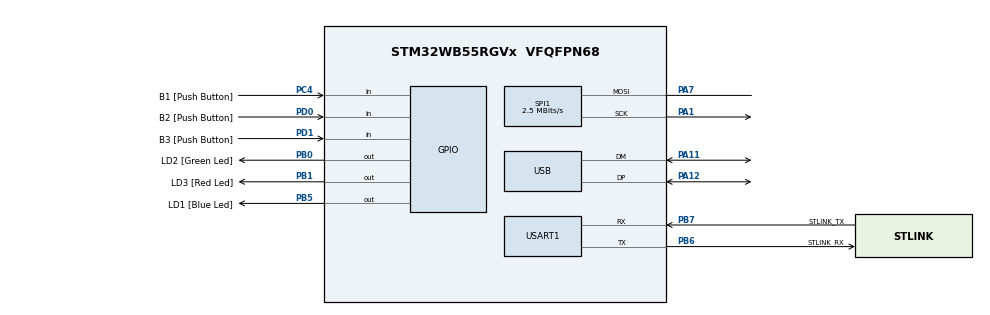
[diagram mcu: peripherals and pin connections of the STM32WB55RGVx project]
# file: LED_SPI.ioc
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Mcu.Family=STM32WB
Mcu.Name=STM32WB55RGVx
Mcu.Package=VFQFPN68
NVIC.PriorityGroup=NVIC_PRIORITYGROUP_4
NVIC.RCC_IRQn=true\:0\:0\:false\:false\:true\:true\:false\:true
NVIC.SPI1_IRQn=true\:0\:0\:false\:false\:true\:true\:true\:true
OSC_IN.Mode=HSE-External-Clock-Source
OSC_IN.Signal=RCC_OSC_IN
OSC_OUT.Signal=RCC_OSC_OUT
PA1.Mode=Simplex_Bidirectional_Master
PA1.Signal=SPI1_SCK
PA11.Mode=Device
PA11.Signal=USB_DM
PA12.Mode=Device
PA12.Signal=USB_DP
PA13.GPIO_Label=JTMS
PA13.Mode=Trace_Asynchronous_SW
PA13.Signal=SYS_JTMS-SWDIO
PA14.GPIO_Label=JTCK
PA14.Mode=Trace_Asynchronous_SW
PA14.Signal=SYS_JTCK-SWCLK
PA7.Mode=Simplex_Bidirectional_Master
PA7.Signal=SPI1_MOSI
PB0.GPIO_Label=LD2 [Green Led]
PB0.Signal=GPIO_Output
PB1.GPIO_Label=LD3 [Red Led]
PB1.Signal=GPIO_Output
PB3.GPIO_Label=JTDO
PB3.Mode=Trace_Asynchronous_SW
PB3.Signal=SYS_JTDO-SWO
PB5.GPIO_Label=LD1 [Blue Led]
PB5.Signal=GPIO_Output
PB6.GPIO_Label=STLINK_RX
PB6.GPIO_PuPd=GPIO_PULLUP
PB6.Mode=Asynchronous
PB6.Signal=USART1_TX
PB7.GPIO_Label=STLINK_TX
PB7.GPIO_PuPd=GPIO_PULLUP
PB7.Mode=Asynchronous
PB7.Signal=USART1_RX
PC13.Mode=SYS_WakeUp1
PC13.Signal=SYS_WKUP2
PC14-OSC32_IN.Signal=RCC_OSC32_IN
PC15-OSC32_OUT.Signal=RCC_OSC32_OUT
PC4.GPIO_Label=B1 [Push Button]
PC4.Signal=GPIO_Input
PD0.GPIO_Label=B2 [Push Button]
PD0.Signal=GPIO_Input
PD1.GPIO_Label=B3 [Push Button]
PD1.Signal=GPIO_Input
ProjectManager.HeapSize=0x200
ProjectManager.StackSize=0x400
ProjectManager.TargetToolchain=STM32CubeIDE
RCC.ADCFreq_Value=48000000
RCC.AHBFreq_Value=20000000
RCC.APB1Freq_Value=20000000
RCC.APB1TimFreq_Value=20000000
RCC.APB2Freq_Value=20000000
RCC.APB2TimFreq_Value=20000000
RCC.APB3Freq_Value=4000000
RCC.CortexFreq_Value=20000000
RCC.HCLKFreq_Value=20000000
RCC.HSE_VALUE=8000000
RCC.HSI48_VALUE=48000000
RCC.HSI_VALUE=16000000
RCC.LSE_VALUE=32768
RCC.PLLN=25
RCC.PLLR=RCC_PLLR_DIV5
RCC.PLLSAI1N=24
RCC.SMPSCLockSelectionVirtual=RCC_SMPSCLKSOURCE_HSI
RCC.SMPSCLockSelectionVirtualVirtual=RCC_SMPSCLKSOURCE_HSI
RCC.SMPSDivider=1
RCC.SYSCLKFreq_VALUE=20000000
RCC.SYSCLKSource=RCC_SYSCLKSOURCE_PLLCLK
RCC.USBFreq_Value=48000000
RCC.VCOOutputFreq_Value=100000000
SPI1.BaudRatePrescaler=SPI_BAUDRATEPRESCALER_8
SPI1.CalculateBaudRate=2.5 MBits/s
SPI1.DataSize=SPI_DATASIZE_8BIT
SPI1.Direction=SPI_DIRECTION_1LINE
SPI1.Mode=SPI_MODE_MASTER
SPI1.VirtualType=VM_MASTER
USART1.VirtualMode-Asynchronous=VM_ASYNC
USART1.WordLength=WORDLENGTH_7B
VP_MEMORYMAP_VS_MEMORYMAP.Mode=CurAppReg
board=NUCLEO-WB55RG

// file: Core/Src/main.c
/* USER CODE BEGIN Header */
/**
  ******************************************************************************
  * @file           : main.c
  * @brief          : Main program body
  ******************************************************************************
  * @attention
  *
  * Copyright (c) 2024 STMicroelectronics.
  * All rights reserved.
  *
  * This software is licensed under terms that can be found in the LICENSE file
  * in the root directory of this software component.
  * If no LICENSE file comes with this software, it is provided AS-IS.
  *
  ******************************************************************************
  */
/* USER CODE END Header */
#include "main.h"

/* USER CODE BEGIN Includes */

#include "WS2812_SPI.h"

/* USER CODE END Includes */

SPI_HandleTypeDef hspi1;

UART_HandleTypeDef huart1;

PCD_HandleTypeDef hpcd_USB_FS;

void SystemClock_Config(void);
void PeriphCommonClock_Config(void);
static void MX_GPIO_Init(void);
static void MX_USART1_UART_Init(void);
static void MX_USB_PCD_Init(void);
static void MX_SPI1_Init(void);

int main(void)
{

  /* MCU Configuration--------------------------------------------------------*/

  /* Reset of all peripherals, Initializes the Flash interface and the Systick. */
  HAL_Init();

  /* Configure the system clock */
  SystemClock_Config();

/* Configure the peripherals common clocks */
  PeriphCommonClock_Config();

  /* Initialize all configured peripherals */
  MX_GPIO_Init();
  MX_USART1_UART_Init();
  MX_USB_PCD_Init();
  MX_SPI1_Init();
  /* USER CODE BEGIN 2 */

  for(int i=0;i<72;i++){
	  set_LED(i, 0, 0, 0);
  }

  WS2812_Send();

  /* USER CODE END 2 */

  /* Infinite loop */
  while (1)
  {

    /* USER CODE BEGIN 3 */
	  for(int i=0;i<72;i++){
	  	  set_LED(i, 255, 0, 0);
	  }
	  WS2812_Send();
	  HAL_Delay(1000);
	  for(int i=0;i<72;i++){
	  	  set_LED(i, 0, 255, 0);
	  }
	  WS2812_Send();
	  HAL_Delay(1000);
	  for(int i=0;i<72;i++){
		  set_LED(i, 0, 0, 255);
	  }
	  WS2812_Send();
	  HAL_Delay(1000);

  }
  /* USER CODE END 3 */
}

void SystemClock_Config(void)
{
  RCC_OscInitTypeDef RCC_OscInitStruct = {0};
  RCC_ClkInitTypeDef RCC_ClkInitStruct = {0};

  /** Configure the main internal regulator output voltage
  */
  __HAL_PWR_VOLTAGESCALING_CONFIG(PWR_REGULATOR_VOLTAGE_SCALE1);

  /** Initializes the RCC Oscillators according to the specified parameters
  * in the RCC_OscInitTypeDef structure.
  */
  RCC_OscInitStruct.OscillatorType = RCC_OSCILLATORTYPE_HSI|RCC_OSCILLATORTYPE_HSE
                              |RCC_OSCILLATORTYPE_LSE|RCC_OSCILLATORTYPE_MSI;
  RCC_OscInitStruct.HSEState = RCC_HSE_ON;
  RCC_OscInitStruct.LSEState = RCC_LSE_OFF;
  RCC_OscInitStruct.HSIState = RCC_HSI_ON;
  RCC_OscInitStruct.MSIState = RCC_MSI_ON;
  RCC_OscInitStruct.HSICalibrationValue = RCC_HSICALIBRATION_DEFAULT;
  RCC_OscInitStruct.MSICalibrationValue = RCC_MSICALIBRATION_DEFAULT;
  RCC_OscInitStruct.MSIClockRange = RCC_MSIRANGE_6;
  RCC_OscInitStruct.PLL.PLLState = RCC_PLL_ON;
  RCC_OscInitStruct.PLL.PLLSource = RCC_PLLSOURCE_MSI;
  RCC_OscInitStruct.PLL.PLLM = RCC_PLLM_DIV1;
  RCC_OscInitStruct.PLL.PLLN = 25;
  RCC_OscInitStruct.PLL.PLLP = RCC_PLLP_DIV2;
  RCC_OscInitStruct.PLL.PLLR = RCC_PLLR_DIV5;
  RCC_OscInitStruct.PLL.PLLQ = RCC_PLLQ_DIV2;
  if (HAL_RCC_OscConfig(&RCC_OscInitStruct) != HAL_OK)
  {
    Error_Handler();
  }

  /** Configure the SYSCLKSource, HCLK, PCLK1 and PCLK2 clocks dividers
  */
  RCC_ClkInitStruct.ClockType = RCC_CLOCKTYPE_HCLK4|RCC_CLOCKTYPE_HCLK2
                              |RCC_CLOCKTYPE_HCLK|RCC_CLOCKTYPE_SYSCLK
                              |RCC_CLOCKTYPE_PCLK1|RCC_CLOCKTYPE_PCLK2;
  RCC_ClkInitStruct.SYSCLKSource = RCC_SYSCLKSOURCE_PLLCLK;
  RCC_ClkInitStruct.AHBCLKDivider = RCC_SYSCLK_DIV1;
  RCC_ClkInitStruct.APB1CLKDivider = RCC_HCLK_DIV1;
  RCC_ClkInitStruct.APB2CLKDivider = RCC_HCLK_DIV1;
  RCC_ClkInitStruct.AHBCLK2Divider = RCC_SYSCLK_DIV1;
  RCC_ClkInitStruct.AHBCLK4Divider = RCC_SYSCLK_DIV1;

  if (HAL_RCC_ClockConfig(&RCC_ClkInitStruct, FLASH_LATENCY_1) != HAL_OK)
  {
    Error_Handler();
  }

  /** Enable MSI Auto calibration
  */
  HAL_RCCEx_EnableMSIPLLMode();
}

void PeriphCommonClock_Config(void)
{
  RCC_PeriphCLKInitTypeDef PeriphClkInitStruct = {0};

  /** Initializes the peripherals clock
  */
  PeriphClkInitStruct.PeriphClockSelection = RCC_PERIPHCLK_SMPS;
  PeriphClkInitStruct.SmpsClockSelection = RCC_SMPSCLKSOURCE_HSI;
  PeriphClkInitStruct.SmpsDivSelection = RCC_SMPSCLKDIV_RANGE0;

  if (HAL_RCCEx_PeriphCLKConfig(&PeriphClkInitStruct) != HAL_OK)
  {
    Error_Handler();
  }
}

static void MX_SPI1_Init(void)
{

  /* SPI1 parameter configuration*/
  hspi1.Instance = SPI1;
  hspi1.Init.Mode = SPI_MODE_MASTER;
  hspi1.Init.Direction = SPI_DIRECTION_1LINE;
  hspi1.Init.DataSize = SPI_DATASIZE_8BIT;
  hspi1.Init.CLKPolarity = SPI_POLARITY_LOW;
  hspi1.Init.CLKPhase = SPI_PHASE_1EDGE;
  hspi1.Init.NSS = SPI_NSS_SOFT;
  hspi1.Init.BaudRatePrescaler = SPI_BAUDRATEPRESCALER_8;
  hspi1.Init.FirstBit = SPI_FIRSTBIT_MSB;
  hspi1.Init.TIMode = SPI_TIMODE_DISABLE;
  hspi1.Init.CRCCalculation = SPI_CRCCALCULATION_DISABLE;
  hspi1.Init.CRCPolynomial = 7;
  hspi1.Init.CRCLength = SPI_CRC_LENGTH_DATASIZE;
  hspi1.Init.NSSPMode = SPI_NSS_PULSE_ENABLE;
  if (HAL_SPI_Init(&hspi1) != HAL_OK)
  {
    Error_Handler();
  }

}

static void MX_USART1_UART_Init(void)
{

  huart1.Instance = USART1;
  huart1.Init.BaudRate = 115200;
  huart1.Init.WordLength = UART_WORDLENGTH_7B;
  huart1.Init.StopBits = UART_STOPBITS_1;
  huart1.Init.Parity = UART_PARITY_NONE;
  huart1.Init.Mode = UART_MODE_TX_RX;
  huart1.Init.HwFlowCtl = UART_HWCONTROL_NONE;
  huart1.Init.OverSampling = UART_OVERSAMPLING_16;
  huart1.Init.OneBitSampling = UART_ONE_BIT_SAMPLE_DISABLE;
  huart1.Init.ClockPrescaler = UART_PRESCALER_DIV1;
  huart1.AdvancedInit.AdvFeatureInit = UART_ADVFEATURE_NO_INIT;
  if (HAL_UART_Init(&huart1) != HAL_OK)
  {
    Error_Handler();
  }
  if (HAL_UARTEx_SetTxFifoThreshold(&huart1, UART_TXFIFO_THRESHOLD_1_8) != HAL_OK)
  {
    Error_Handler();
  }
  if (HAL_UARTEx_SetRxFifoThreshold(&huart1, UART_RXFIFO_THRESHOLD_1_8) != HAL_OK)
  {
    Error_Handler();
  }
  if (HAL_UARTEx_DisableFifoMode(&huart1) != HAL_OK)
  {
    Error_Handler();
  }

}

static void MX_USB_PCD_Init(void)
{

  hpcd_USB_FS.Instance = USB;
  hpcd_USB_FS.Init.dev_endpoints = 8;
  hpcd_USB_FS.Init.speed = PCD_SPEED_FULL;
  hpcd_USB_FS.Init.phy_itface = PCD_PHY_EMBEDDED;
  hpcd_USB_FS.Init.Sof_enable = DISABLE;
  hpcd_USB_FS.Init.low_power_enable = DISABLE;
  hpcd_USB_FS.Init.lpm_enable = DISABLE;
  hpcd_USB_FS.Init.battery_charging_enable = DISABLE;
  if (HAL_PCD_Init(&hpcd_USB_FS) != HAL_OK)
  {
    Error_Handler();
  }

}

static void MX_GPIO_Init(void)
{
  GPIO_InitTypeDef GPIO_InitStruct = {0};

  /* GPIO Ports Clock Enable */
  __HAL_RCC_GPIOC_CLK_ENABLE();
  __HAL_RCC_GPIOA_CLK_ENABLE();
  __HAL_RCC_GPIOB_CLK_ENABLE();
  __HAL_RCC_GPIOD_CLK_ENABLE();

  /*Configure GPIO pin Output Level */
  HAL_GPIO_WritePin(GPIOB, LD2_Pin|LD3_Pin|LD1_Pin, GPIO_PIN_RESET);

  /*Configure GPIO pin : B1_Pin */
  GPIO_InitStruct.Pin = B1_Pin;
  GPIO_InitStruct.Mode = GPIO_MODE_INPUT;
  GPIO_InitStruct.Pull = GPIO_NOPULL;
  HAL_GPIO_Init(B1_GPIO_Port, &GPIO_InitStruct);

  /*Configure GPIO pins : LD2_Pin LD3_Pin LD1_Pin */
  GPIO_InitStruct.Pin = LD2_Pin|LD3_Pin|LD1_Pin;
  GPIO_InitStruct.Mode = GPIO_MODE_OUTPUT_PP;
  GPIO_InitStruct.Pull = GPIO_NOPULL;
  GPIO_InitStruct.Speed = GPIO_SPEED_FREQ_LOW;
  HAL_GPIO_Init(GPIOB, &GPIO_InitStruct);

  /*Configure GPIO pins : B2_Pin B3_Pin */
  GPIO_InitStruct.Pin = B2_Pin|B3_Pin;
  GPIO_InitStruct.Mode = GPIO_MODE_INPUT;
  GPIO_InitStruct.Pull = GPIO_NOPULL;
  HAL_GPIO_Init(GPIOD, &GPIO_InitStruct);

}

void Error_Handler(void)
{
  __disable_irq();
  while (1)
  {
  }
}
